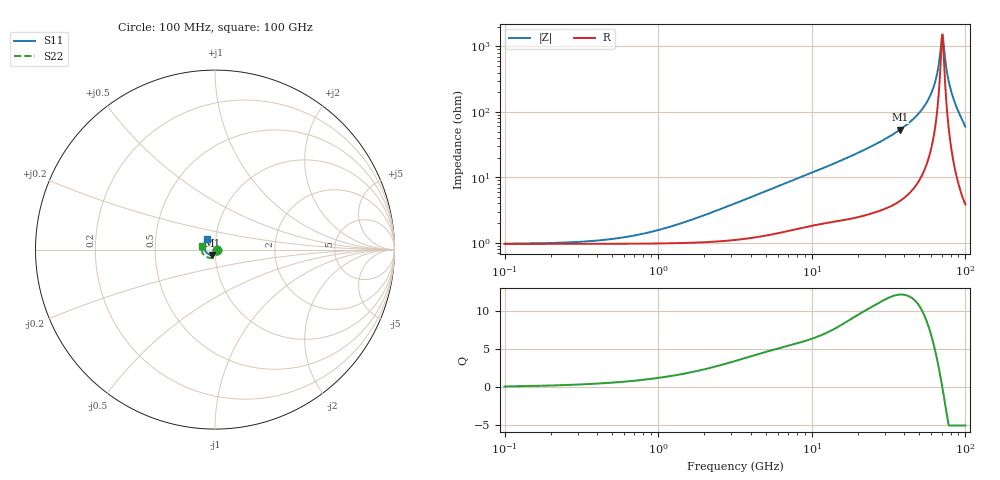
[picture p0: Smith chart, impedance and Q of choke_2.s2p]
#  Hz  S  RI  R  50
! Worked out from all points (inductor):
!   1000 points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, 100 MHz to 100 GHz, reference 50 ohm
!   read as 1/Y11, port 2 shorted: L = 192 pH near 2.7 GHz
!   highest Q = 12.2 at 37.6 GHz (marker M1), where L = 227 pH
!   self-resonance near 70.82 GHz
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1e8  0.00966 2.6e-05  0.9906 -0.00238  0.9906 -0.00238  0.00962 2.44e-05
1.2e9  0.00985 0.000286  0.99 -0.0285  0.9899 -0.0285  0.00984 0.000266
2.4e9  0.0104 0.000424  0.9881 -0.0569  0.9881 -0.0569  0.0105 0.000376
7e9  0.014 -0.00205  0.9719 -0.1612  0.9719 -0.1613  0.0146 -0.00234
9.8e9  0.0154 -0.00577  0.9574 -0.2215  0.9574 -0.2216  0.0164 -0.00632
1.28e10  0.0153 -0.0104  0.9389 -0.2845  0.9388 -0.2846  0.0168 -0.0113
1.68e10  0.013 -0.0161  0.9085 -0.3666  0.9084 -0.3668  0.0155 -0.0176
2.5e10  0.00482 -0.025  0.8241 -0.5246  0.824 -0.5249  0.00982 -0.029
3.34e10  -0.00753 -0.0304  0.7104 -0.6678  0.7102 -0.6681  -0.000136 -0.0385
3.76e10  -0.0145 -0.0312  0.6441 -0.7308  0.6438 -0.731  -0.0062 -0.0418
4.39e10  -0.0253 -0.0299  0.5346 -0.8127  0.5342 -0.813  -0.0162 -0.0451
5.01e10  -0.0357 -0.0257  0.4169 -0.8777  0.4163 -0.8779  -0.0269 -0.046
5.43e10  -0.0422 -0.0213  0.3326 -0.9121  0.332 -0.9122  -0.0341 -0.0452
5.84e10  -0.0478 -0.016  0.2477 -0.9379  0.2471 -0.938  -0.0411 -0.0433
6.26e10  -0.0527 -0.00968  0.1588 -0.9562  0.1581 -0.9562  -0.048 -0.0404
6.67e10  -0.0566 -0.00268  0.0707 -0.966  0.07 -0.966  -0.0543 -0.0365
7.09e10  -0.0593 0.0051  -0.0199 -0.9676  -0.0207 -0.9675  -0.0601 -0.0315
7.51e10  -0.0609 0.0132  -0.1102 -0.9609  -0.111 -0.9607  -0.0652 -0.0257
7.93e10  -0.0613 0.0215  -0.1994 -0.9458  -0.2002 -0.9455  -0.0694 -0.0191
8.34e10  -0.0604 0.0296  -0.2848 -0.9231  -0.2856 -0.9228  -0.0726 -0.012
9.15e10  -0.0552 0.0445  -0.4452 -0.8561  -0.446 -0.8554  -0.0755 0.00302
1e11  -0.0458 0.0576  -0.5982 -0.756  -0.599 -0.7554  -0.0739 0.0194
